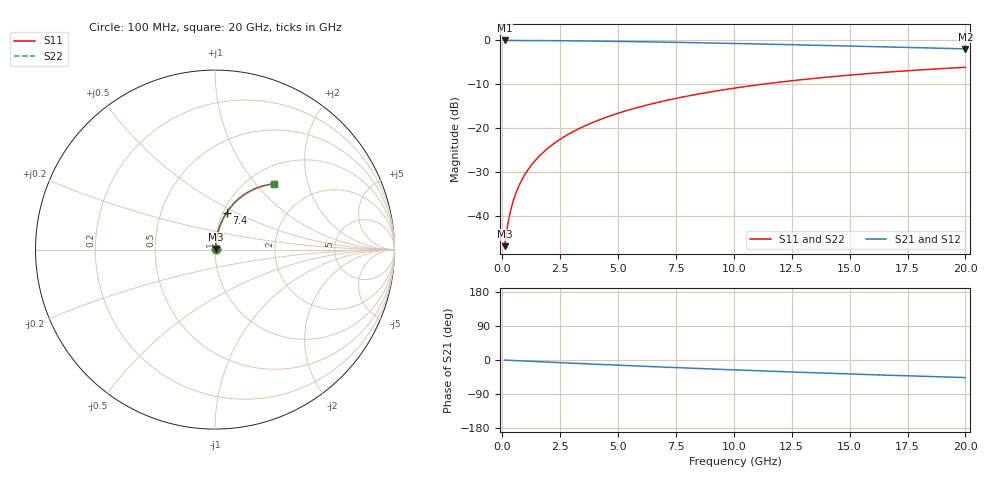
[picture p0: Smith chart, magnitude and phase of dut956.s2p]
! Touchstone file exported from HFSS 2024.1.0
!  File:  C:/UserFiles/LocalFiles/RDL_TSV_Batchsim/temp_RDL_top_956_1779938241.aedt
!  Generated:  11:19:51 AM May 28, 2026
!  Design:  RDL_top
!  Project:  temp_RDL_top_956_1779938241
!  Setup:  Setup1
!  Solution:  Sweep
! Variables:
!  dtsv = 10.80580581um
!  hbump = 3um
!  htsv = 88.51um
!  ldown = 100um
!  lrdl = 601.53um
!  p = 40
!  p1 = 57.09um
!  rhole = 1um
!  t = 450um
!  tdown = 3.915915916um
!  trdl = 4.63um
!  wdown = 15.38538539um
!  wrdl = 14.14um
# GHz S MA R 50.000000
! Terminal data exported
! Port[1] = Box2_T1
! Port[2] = Box2_T2
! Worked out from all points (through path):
!   200 points, 100 MHz to 20 GHz, reference 50 ohm
!   highest |S21| = -0.03 dB at 100 MHz (marker M1); lowest = -1.9 dB at 20 GHz (marker M2)
!   group delay of S21, straight-line fit = 6.43 ps
!   lowest |S11| = -46.8 dB at 100 MHz (marker M3), VSWR 1.01, Z = 50.3 + j0.313 ohm
!   |S11| at or under -10 dB: start of sweep to 11.23 GHz
!   |S22| runs from -46.8 to -6.1 dB; largest |S21 - S12| = 2.9e-14
!   S11 on the Smith chart (normalised r, x): 100 MHz: 1.01, +0.01; 7.4 GHz: 1.04, +0.45; 20 GHz: 1.30, +1.26
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0.1  0.004561 43.0  0.9967 -0.3  0.9967 -0.3  0.004561 43.0
! Gamma 0 0 0 0
! Port Impedance 50 0 50 0
0.2  0.00708 60.9  0.9966 -0.6  0.9966 -0.6  0.00708 60.9
0.3  0.009891 68.7  0.9964 -0.9  0.9964 -0.9  0.009891 68.7
0.4  0.01278 73.0  0.9963 -1.1  0.9963 -1.1  0.01278 73.0
0.5  0.01569 75.6  0.9961 -1.4  0.9961 -1.4  0.01569 75.6
0.6  0.01862 77.3  0.996 -1.7  0.996 -1.7  0.01862 77.3
0.8  0.02452 79.5  0.9956 -2.3  0.9956 -2.3  0.02452 79.5
1.1  0.0334 81.0  0.995 -3.1  0.995 -3.1  0.0334 81.1
1.5  0.04529 81.8  0.9939 -4.2  0.9939 -4.2  0.04529 81.8
1.8  0.05421 81.9  0.9929 -5.1  0.9929 -5.1  0.05421 81.9
2.1  0.06313 81.8  0.9917 -5.9  0.9917 -5.9  0.06313 81.8
2.7  0.08091 81.2  0.9889 -7.5  0.9889 -7.5  0.08091 81.2
3.5  0.1045 80.0  0.9842 -9.7  0.9842 -9.7  0.1045 80.0
4.2  0.1249 78.8  0.9793 -11.6  0.9793 -11.6  0.125 78.8
5  0.1481 77.3  0.973 -13.7  0.973 -13.7  0.1481 77.3
6.8  0.1993 73.7  0.9566 -18.3  0.9566 -18.3  0.1993 73.8
7.4  0.2159 72.5  0.9505 -19.8  0.9505 -19.8  0.216 72.5
8.7  0.2513 69.8  0.9366 -23.0  0.9366 -23.0  0.2514 69.9
10.1  0.2879 66.9  0.9207 -26.2  0.9207 -26.2  0.288 66.9
13.4  0.3675 60.2  0.881 -33.5  0.881 -33.5  0.3676 60.2
16.7  0.4361 53.8  0.8401 -40.2  0.8401 -40.2  0.4363 53.8
20  0.4938 47.8  0.8 -46.4  0.8 -46.4  0.4941 47.9
